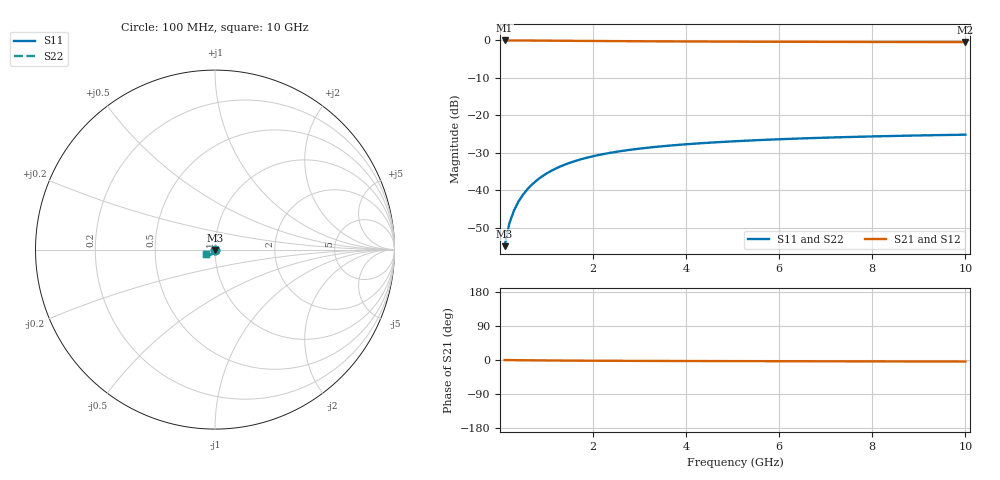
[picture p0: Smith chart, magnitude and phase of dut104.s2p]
! Touchstone file exported from HFSS 2024.1.0
!  File:  C:/UserFiles/LocalFiles/RDL_TSV_Batchsim/temp_TSV1_104_1778764868.aedt
!  Generated:  09:25:54 PM May 14, 2026
!  Design:  TSV1
!  Project:  temp_TSV1_104_1778764868
!  Setup:  Setup1
!  Solution:  Sweep
! Variables:
!  dtsv = 20.47um
!  hbump = 3um
!  htsv = 52.84um
!  lrdl = 252.1521522um
!  p = 40
!  p1 = 57.17um
!  t = 500um
!  trdl = 3um
!  wrdl = 24.89489489um
# GHz S MA R 50.000000
! Terminal data exported
! Port[1] = TSV22_T1
! Port[2] = TSV22_T2
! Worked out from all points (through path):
!   100 points, 100 MHz to 10 GHz, reference 50 ohm
!   highest |S21| = 0.00 dB at 100 MHz (marker M1); lowest = -0.4 dB at 10 GHz (marker M2)
!   lowest |S11| = -54.8 dB at 100 MHz (marker M3), VSWR 1.00, Z = 50 - j0.181 ohm
!   |S11| at or under -10 dB: start of sweep to end of sweep
!   |S22| runs from -54.8 to -25.1 dB; largest |S21 - S12| = 3.3e-15
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0.1  0.001811 -90.2  0.9999 -0.1  0.9999 -0.1  0.001811 -90.2
! Gamma 0 0 0 0
! Port Impedance 50 0 50 0
0.2  0.003612 -93.2  0.9997 -0.3  0.9997 -0.3  0.003612 -93.2
0.3  0.005395 -95.5  0.9993 -0.4  0.9993 -0.4  0.005395 -95.5
0.4  0.007154 -97.6  0.9989 -0.5  0.9989 -0.5  0.007154 -97.6
0.5  0.00888 -99.7  0.9983 -0.6  0.9983 -0.6  0.00888 -99.7
0.6  0.01057 -101.7  0.9976 -0.8  0.9976 -0.8  0.01057 -101.7
0.7  0.01221 -103.6  0.9969 -0.9  0.9969 -0.9  0.01221 -103.6
0.8  0.0138 -105.5  0.996 -1.0  0.996 -1.0  0.0138 -105.5
0.9  0.01534 -107.3  0.9951 -1.1  0.9951 -1.1  0.01534 -107.3
1.1  0.01826 -110.7  0.9932 -1.3  0.9932 -1.3  0.01826 -110.7
1.4  0.02219 -115.4  0.9901 -1.5  0.9901 -1.5  0.02219 -115.4
1.6  0.02454 -118.1  0.9881 -1.7  0.9881 -1.7  0.02454 -118.1
1.8  0.02668 -120.7  0.9861 -1.8  0.9861 -1.8  0.02668 -120.7
2.1  0.02953 -124.1  0.9832 -2.0  0.9832 -2.0  0.02953 -124.1
2.5  0.03278 -128.0  0.9797 -2.2  0.9797 -2.2  0.03278 -128.0
2.9  0.03552 -131.2  0.9766 -2.3  0.9766 -2.3  0.03552 -131.2
3.4  0.03842 -134.5  0.9731 -2.5  0.9731 -2.5  0.03842 -134.5
4.2  0.04216 -138.6  0.9684 -2.7  0.9684 -2.7  0.04216 -138.6
5.1  0.0455 -142.1  0.9641 -3.0  0.9641 -3.0  0.0455 -142.1
6.7  0.04993 -146.7  0.9583 -3.3  0.9583 -3.3  0.04993 -146.7
8.4  0.05324 -150.2  0.9538 -3.7  0.9538 -3.7  0.05324 -150.2
10  0.05545 -152.7  0.9508 -4.1  0.9508 -4.1  0.05545 -152.7
